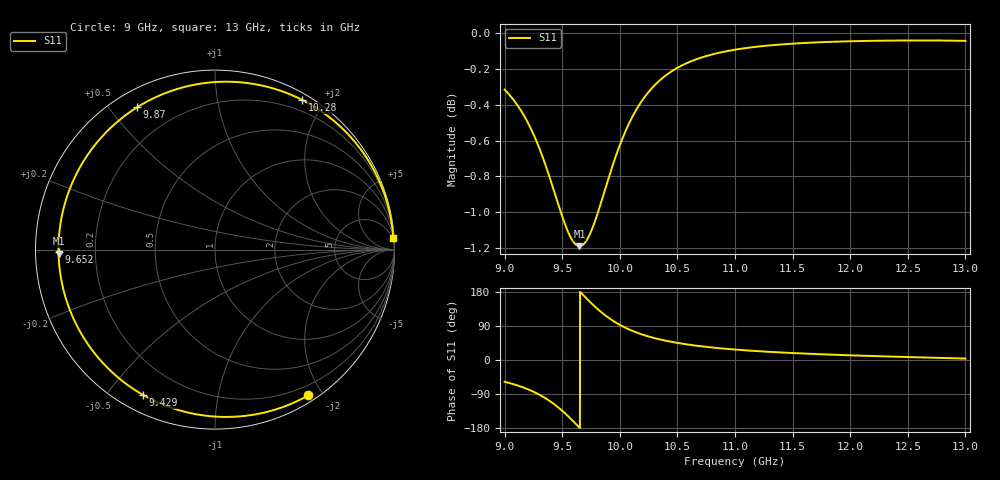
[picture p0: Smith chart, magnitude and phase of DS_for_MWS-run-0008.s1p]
! TOUCHSTONE file generated by CST DESIGN STUDIO
! Date and time: Tue Feb  4 17:17:00 2025
! Project name: C:\Work\MatlabApps\UnitCellOptimizationMatlab\CST\unitcell.cst
! Tree item: Tasks\Sweep1\SPara1\S-Parameters
! Header version: 2024
! Port assignment regex: !\s*Touchstone port\s*([0-9]+)\s*=\s*(CST MWS port|CST DES external port|CST DES block port)\s*(.+)\s* \(\"(.*)\"\)(\s*mode\s*([0-9]+))?.*
! Touchstone port assignment:
! Touchstone port 1 = CST DES external port 1 ("")
# GHz S MA R 50
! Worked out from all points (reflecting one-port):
!   4001 points, 9 GHz to 13 GHz, reference 50 ohm
!   lowest |S11| = -1.2 dB at 9.65 GHz (marker M1), VSWR 14.62, Z = 3.42 - j0.643 ohm
!   phase of S11 starts at -57 deg and turns -299 deg over the sweep
!   S11 on the Smith chart (normalised r, x): 9 GHz: 0.08, -1.82; 9.429 GHz: 0.07, -0.62; 9.652 GHz: 0.07, -0.01; 9.87 GHz: 0.07, +0.59; 10.28 GHz: 0.07, +1.74; 13 GHz: 2, +30
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9  0.9643 -57.4
9.108  0.955 -66.8
9.217  0.942 -79.2
9.334  0.9227 -97.1
9.383  0.9131 -106.5
9.429  0.9035 -116.4
9.5  0.8889 -134.0
9.581  0.876 -157.1
9.616  0.873 -167.9
9.65  0.872 -178.5
9.652  0.872 -179.1
9.698  0.8739 166.4
9.746  0.8795 151.8
9.809  0.8909 134.0
9.87  0.9039 118.7
9.932  0.9172 105.2
10  0.9305 92.7
10.066  0.9415 82.6
10.132  0.9506 74.1
10.277  0.9651 59.7
10.382  0.9722 52.0
10.5  0.978 45.1
10.719  0.9847 35.7
11  0.9894 27.6
11.5  0.9933 18.4
12  0.9948 12.3
12.5  0.9953 7.8
13  0.9951 3.8
